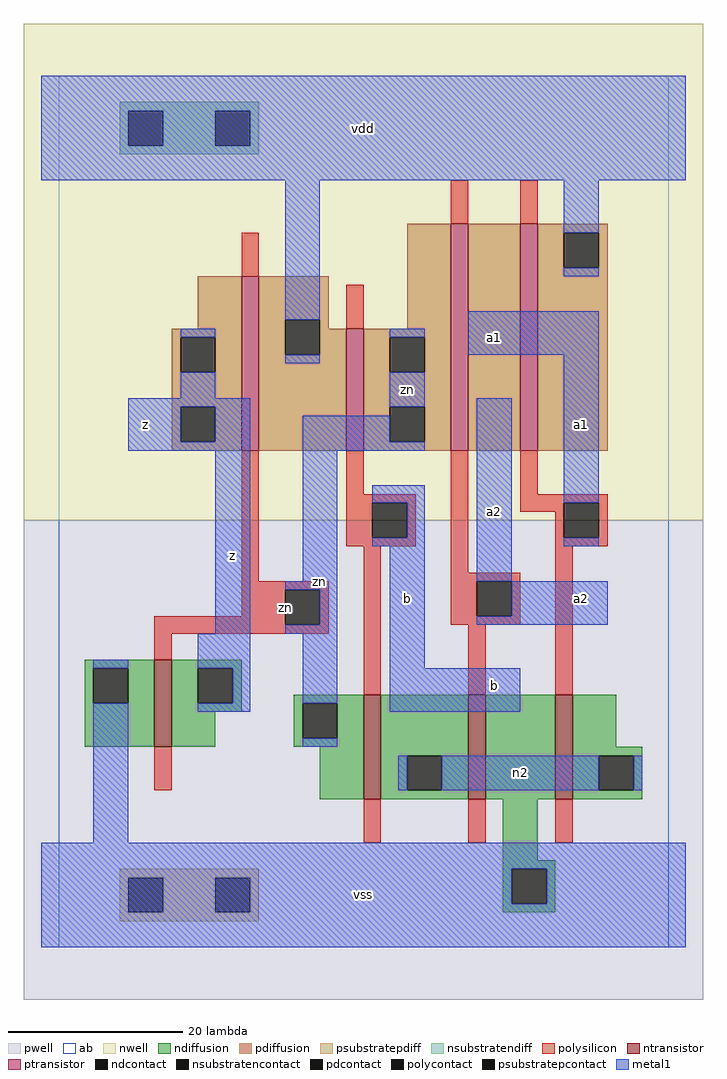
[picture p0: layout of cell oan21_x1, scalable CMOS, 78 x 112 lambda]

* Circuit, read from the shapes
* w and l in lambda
.subckt oan21_x1 a1 a2 b n2 vdd vss z zn
M1 z zn vss vss nfet w=10 l=2
M2 n2 b zn vss nfet w=12 l=2
M3 vss a2 n2 vss nfet w=12 l=2
M4 n2 a1 vss vss nfet w=12 l=2
M5 vdd zn z vdd pfet w=20 l=2
M6 zn b vdd vdd pfet w=14 l=2
M7 n1 a2 zn vdd pfet w=26 l=2
M8 vdd a1 n1 vdd pfet w=26 l=2
.ends

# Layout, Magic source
magic
tech scmos
<< ab >>
rect 0 0 70 100
<< pwell >>
rect -4 -6 74 49
<< nwell >>
rect -4 49 74 106
<< polysilicon >>
rect 45 83 47 88
rect 53 83 55 88
rect 21 77 23 82
rect 33 71 35 76
rect 21 42 23 57
rect 33 52 35 57
rect 33 51 41 52
rect 33 47 36 51
rect 40 47 41 51
rect 33 46 41 47
rect 21 41 31 42
rect 21 38 26 41
rect 11 37 26 38
rect 30 37 31 41
rect 11 36 31 37
rect 11 33 13 36
rect 35 29 37 46
rect 45 43 47 57
rect 53 52 55 57
rect 53 51 63 52
rect 53 50 58 51
rect 57 47 58 50
rect 62 47 63 51
rect 57 46 63 47
rect 45 42 53 43
rect 45 38 48 42
rect 52 38 53 42
rect 45 37 53 38
rect 47 29 49 37
rect 57 29 59 46
rect 11 18 13 23
rect 35 12 37 17
rect 47 12 49 17
rect 57 12 59 17
<< ndiffusion >>
rect 3 32 11 33
rect 3 28 4 32
rect 8 28 11 32
rect 3 23 11 28
rect 13 32 21 33
rect 13 28 16 32
rect 20 28 21 32
rect 13 27 21 28
rect 27 28 35 29
rect 13 23 18 27
rect 27 24 28 28
rect 32 24 35 28
rect 27 23 35 24
rect 30 17 35 23
rect 37 22 47 29
rect 37 18 40 22
rect 44 18 47 22
rect 37 17 47 18
rect 49 17 57 29
rect 59 23 64 29
rect 59 22 67 23
rect 59 18 62 22
rect 66 18 67 22
rect 59 17 67 18
rect 51 10 55 17
rect 51 9 57 10
rect 51 5 52 9
rect 56 5 57 9
rect 51 4 57 5
<< pdiffusion >>
rect 16 71 21 77
rect 13 70 21 71
rect 13 66 14 70
rect 18 66 21 70
rect 13 62 21 66
rect 13 58 14 62
rect 18 58 21 62
rect 13 57 21 58
rect 23 72 31 77
rect 23 68 26 72
rect 30 71 31 72
rect 40 71 45 83
rect 30 68 33 71
rect 23 57 33 68
rect 35 70 45 71
rect 35 66 38 70
rect 42 66 45 70
rect 35 62 45 66
rect 35 58 38 62
rect 42 58 45 62
rect 35 57 45 58
rect 47 57 53 83
rect 55 82 63 83
rect 55 78 58 82
rect 62 78 63 82
rect 55 57 63 78
<< metal1 >>
rect -2 88 72 100
rect 26 72 30 88
rect 58 82 62 88
rect 58 77 62 78
rect 14 70 18 71
rect 26 67 30 68
rect 38 70 42 71
rect 14 63 18 66
rect 47 68 62 73
rect 8 62 22 63
rect 8 58 14 62
rect 18 58 22 62
rect 38 62 42 66
rect 8 57 22 58
rect 18 36 22 57
rect 28 58 38 61
rect 28 57 42 58
rect 28 42 32 57
rect 36 51 42 53
rect 40 47 42 51
rect 36 46 42 47
rect 26 41 32 42
rect 30 37 32 41
rect 26 36 32 37
rect 4 32 8 33
rect 4 12 8 28
rect 16 32 22 36
rect 20 28 22 32
rect 16 27 22 28
rect 28 28 32 36
rect 38 32 42 46
rect 48 42 52 63
rect 58 51 62 68
rect 58 46 62 47
rect 52 38 63 42
rect 48 37 63 38
rect 38 27 53 32
rect 28 23 32 24
rect 39 18 40 22
rect 44 18 62 22
rect 66 18 67 22
rect -2 9 72 12
rect -2 5 52 9
rect 56 5 72 9
rect -2 0 72 5
<< ntransistor >>
rect 11 23 13 33
rect 35 17 37 29
rect 47 17 49 29
rect 57 17 59 29
<< ptransistor >>
rect 21 57 23 77
rect 33 57 35 71
rect 45 57 47 83
rect 53 57 55 83
<< polycontact >>
rect 36 47 40 51
rect 26 37 30 41
rect 58 47 62 51
rect 48 38 52 42
<< ndcontact >>
rect 4 28 8 32
rect 16 28 20 32
rect 28 24 32 28
rect 40 18 44 22
rect 62 18 66 22
rect 52 5 56 9
<< pdcontact >>
rect 14 66 18 70
rect 14 58 18 62
rect 26 68 30 72
rect 38 66 42 70
rect 38 58 42 62
rect 58 78 62 82
<< psubstratepcontact >>
rect 8 4 12 8
rect 18 4 22 8
<< nsubstratencontact >>
rect 8 92 12 96
rect 18 92 22 96
<< psubstratepdiff >>
rect 7 8 23 9
rect 7 4 8 8
rect 12 4 18 8
rect 22 4 23 8
rect 7 3 23 4
<< nsubstratendiff >>
rect 7 96 23 97
rect 7 92 8 96
rect 12 92 18 96
rect 22 92 23 96
rect 7 91 23 92
<< labels >>
rlabel polysilicon 26 39 26 39 6 zn
rlabel metal1 10 60 10 60 6 z
rlabel metal1 10 60 10 60 6 z
rlabel metal1 20 45 20 45 6 z
rlabel metal1 20 45 20 45 6 z
rlabel metal1 30 42 30 42 6 zn
rlabel metal1 35 6 35 6 6 vss
rlabel metal1 35 6 35 6 6 vss
rlabel metal1 50 30 50 30 6 b
rlabel metal1 40 40 40 40 6 b
rlabel metal1 40 40 40 40 6 b
rlabel metal1 50 30 50 30 6 b
rlabel metal1 50 50 50 50 6 a2
rlabel metal1 50 50 50 50 6 a2
rlabel metal1 40 64 40 64 6 zn
rlabel metal1 50 70 50 70 6 a1
rlabel metal1 50 70 50 70 6 a1
rlabel metal1 35 94 35 94 6 vdd
rlabel metal1 35 94 35 94 6 vdd
rlabel metal1 53 20 53 20 6 n2
rlabel metal1 60 40 60 40 6 a2
rlabel metal1 60 40 60 40 6 a2
rlabel metal1 60 60 60 60 6 a1
rlabel metal1 60 60 60 60 6 a1
<< end >>
